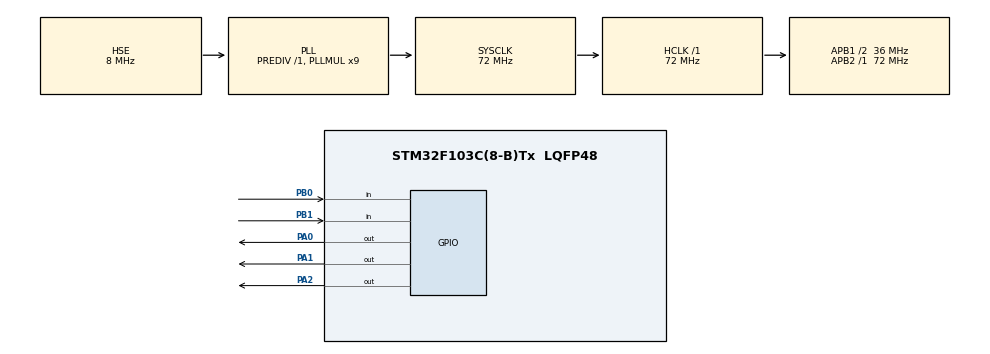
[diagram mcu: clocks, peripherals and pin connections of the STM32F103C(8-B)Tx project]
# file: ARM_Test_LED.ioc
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Mcu.Family=STM32F1
Mcu.Name=STM32F103C(8-B)Tx
Mcu.Package=LQFP48
NVIC.PriorityGroup=NVIC_PRIORITYGROUP_4
PA0-WKUP.Signal=GPIO_Output
PA1.Signal=GPIO_Output
PA13.Mode=Serial_Wire
PA13.Signal=SYS_JTMS-SWDIO
PA14.Mode=Serial_Wire
PA14.Signal=SYS_JTCK-SWCLK
PA2.Signal=GPIO_Output
PB0.Signal=GPIO_Input
PB1.Signal=GPIO_Input
PD0-OSC_IN.Mode=HSE-External-Oscillator
PD0-OSC_IN.Signal=RCC_OSC_IN
PD1-OSC_OUT.Mode=HSE-External-Oscillator
PD1-OSC_OUT.Signal=RCC_OSC_OUT
ProjectManager.HeapSize=0x200
ProjectManager.StackSize=0x400
ProjectManager.TargetToolchain=TrueSTUDIO
RCC.AHBFreq_Value=72000000
RCC.APB1CLKDivider=RCC_HCLK_DIV2
RCC.APB1Freq_Value=36000000
RCC.APB1TimFreq_Value=72000000
RCC.APB2Freq_Value=72000000
RCC.APB2TimFreq_Value=72000000
RCC.HCLKFreq_Value=72000000
RCC.PLLMUL=RCC_PLL_MUL9
RCC.PLLSourceVirtual=RCC_PLLSOURCE_HSE
RCC.SYSCLKFreq_VALUE=72000000
RCC.SYSCLKSource=RCC_SYSCLKSOURCE_PLLCLK
RCC.USBFreq_Value=72000000
board=custom

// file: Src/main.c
/**
  ******************************************************************************
  * @file           : main.c
  * @brief          : Main program body
  ******************************************************************************
  ** This notice applies to any and all portions of this file
  * that are not between comment pairs USER CODE BEGIN and
  * USER CODE END. Other portions of this file, whether
  * inserted by the user or by software development tools
  * are owned by their respective copyright owners.
  *
  * COPYRIGHT(c) 2019 STMicroelectronics
  *
  * Redistribution and use in source and binary forms, with or without modification,
  * are permitted provided that the following conditions are met:
  *   1. Redistributions of source code must retain the above copyright notice,
  *      this list of conditions and the following disclaimer.
  *   2. Redistributions in binary form must reproduce the above copyright notice,
  *      this list of conditions and the following disclaimer in the documentation
  *      and/or other materials provided with the distribution.
  *   3. Neither the name of STMicroelectronics nor the names of its contributors
  *      may be used to endorse or promote products derived from this software
  *      without specific prior written permission.
  *
  * THIS SOFTWARE IS PROVIDED BY THE COPYRIGHT HOLDERS AND CONTRIBUTORS "AS IS"
  * AND ANY EXPRESS OR IMPLIED WARRANTIES, INCLUDING, BUT NOT LIMITED TO, THE
  * IMPLIED WARRANTIES OF MERCHANTABILITY AND FITNESS FOR A PARTICULAR PURPOSE ARE
  * DISCLAIMED. IN NO EVENT SHALL THE COPYRIGHT HOLDER OR CONTRIBUTORS BE LIABLE
  * FOR ANY DIRECT, INDIRECT, INCIDENTAL, SPECIAL, EXEMPLARY, OR CONSEQUENTIAL
  * DAMAGES (INCLUDING, BUT NOT LIMITED TO, PROCUREMENT OF SUBSTITUTE GOODS OR
  * SERVICES; LOSS OF USE, DATA, OR PROFITS; OR BUSINESS INTERRUPTION) HOWEVER
  * CAUSED AND ON ANY THEORY OF LIABILITY, WHETHER IN CONTRACT, STRICT LIABILITY,
  * OR TORT (INCLUDING NEGLIGENCE OR OTHERWISE) ARISING IN ANY WAY OUT OF THE USE
  * OF THIS SOFTWARE, EVEN IF ADVISED OF THE POSSIBILITY OF SUCH DAMAGE.
  *
  ******************************************************************************
  */
#include "main.h"
#include "stm32f1xx_hal.h"

/* USER CODE BEGIN PV */
/* Private variables ---------------------------------------------------------*/

/* USER CODE END PV */

void SystemClock_Config(void);
static void MX_GPIO_Init(void);

/* USER CODE BEGIN PFP */
void shiftClock(void);
void LatchClock(void);
void ByteDataWrite_L(uint8_t data);
void ByteDataWrite_R(uint8_t data);
/* Private function prototypes -----------------------------------------------*/

/* USER CODE END PFP */

/* USER CODE BEGIN 0 */
volatile int SW_state = 0;

void shiftClock(void)
{
	HAL_GPIO_WritePin(DATAPORT, SHIFT_CLOCK, GPIO_PIN_SET);
	HAL_GPIO_WritePin(DATAPORT, SHIFT_CLOCK, GPIO_PIN_RESET);
}

void LatchClock(void)
{
	HAL_GPIO_WritePin(DATAPORT, LATCH_CLOCK, GPIO_PIN_SET);
	HAL_GPIO_WritePin(DATAPORT, LATCH_CLOCK, GPIO_PIN_RESET);
}

void ByteDataWrite_L(uint8_t data)
{
	for (uint8_t i=0; i<8; i++)
	{
			if (data & 0x80)	//�·� shift
			{
				HAL_GPIO_WritePin(DATAPORT, DATA, GPIO_PIN_RESET);
			} else {
				HAL_GPIO_WritePin(DATAPORT, DATA, GPIO_PIN_SET);
			}
			shiftClock();

			data = data << 1;

	}
	LatchClock();
}
void ByteDataWrite_R(uint8_t data)
{
	for (uint8_t i=0; i<8; i++)
	{
			if (data & 0x01)	//�·� shift
			{
				HAL_GPIO_WritePin(DATAPORT, DATA, GPIO_PIN_RESET);
			} else {
				HAL_GPIO_WritePin(DATAPORT, DATA, GPIO_PIN_SET);
			}
			shiftClock();

			data = data >> 1;

	}
	LatchClock();
}

/* USER CODE END 0 */

int main(void)
{

  /* MCU Configuration----------------------------------------------------------*/

  /* Reset of all peripherals, Initializes the Flash interface and the Systick. */
  HAL_Init();

  /* Configure the system clock */
  SystemClock_Config();

  /* Initialize all configured peripherals */
  MX_GPIO_Init();

  /* Infinite loop */
  /* USER CODE BEGIN WHILE */
  int index = 0;
  while (1)
  {
	  if(HAL_GPIO_ReadPin(SWPORT,SW1) == 0)
	  {
		 SW_state = 0;
	  }
	  if(HAL_GPIO_ReadPin(SWPORT,SW2) == 0)
	  {
	  	 SW_state = 1;
	  }
	  int pattern = 1 << index;
	  index = (index + 1) % 8;

	  if(SW_state == 0)
	  ByteDataWrite_L(pattern);
	  if(SW_state == 1)
	  ByteDataWrite_R(pattern);
	  HAL_Delay(300);
  /* USER CODE END WHILE */

  }

}

void SystemClock_Config(void)
{

  RCC_OscInitTypeDef RCC_OscInitStruct;
  RCC_ClkInitTypeDef RCC_ClkInitStruct;

    /**Initializes the CPU, AHB and APB busses clocks
    */
  RCC_OscInitStruct.OscillatorType = RCC_OSCILLATORTYPE_HSE;
  RCC_OscInitStruct.HSEState = RCC_HSE_ON;
  RCC_OscInitStruct.HSEPredivValue = RCC_HSE_PREDIV_DIV1;
  RCC_OscInitStruct.HSIState = RCC_HSI_ON;
  RCC_OscInitStruct.PLL.PLLState = RCC_PLL_ON;
  RCC_OscInitStruct.PLL.PLLSource = RCC_PLLSOURCE_HSE;
  RCC_OscInitStruct.PLL.PLLMUL = RCC_PLL_MUL9;
  if (HAL_RCC_OscConfig(&RCC_OscInitStruct) != HAL_OK)
  {
    _Error_Handler(__FILE__, __LINE__);
  }

    /**Initializes the CPU, AHB and APB busses clocks
    */
  RCC_ClkInitStruct.ClockType = RCC_CLOCKTYPE_HCLK|RCC_CLOCKTYPE_SYSCLK
                              |RCC_CLOCKTYPE_PCLK1|RCC_CLOCKTYPE_PCLK2;
  RCC_ClkInitStruct.SYSCLKSource = RCC_SYSCLKSOURCE_PLLCLK;
  RCC_ClkInitStruct.AHBCLKDivider = RCC_SYSCLK_DIV1;
  RCC_ClkInitStruct.APB1CLKDivider = RCC_HCLK_DIV2;
  RCC_ClkInitStruct.APB2CLKDivider = RCC_HCLK_DIV1;

  if (HAL_RCC_ClockConfig(&RCC_ClkInitStruct, FLASH_LATENCY_2) != HAL_OK)
  {
    _Error_Handler(__FILE__, __LINE__);
  }

    /**Configure the Systick interrupt time
    */
  HAL_SYSTICK_Config(HAL_RCC_GetHCLKFreq()/1000);

    /**Configure the Systick
    */
  HAL_SYSTICK_CLKSourceConfig(SYSTICK_CLKSOURCE_HCLK);

  /* SysTick_IRQn interrupt configuration */
  HAL_NVIC_SetPriority(SysTick_IRQn, 0, 0);
}

/** Configure pins as
        * Analog
        * Input
        * Output
        * EVENT_OUT
        * EXTI
*/
static void MX_GPIO_Init(void)
{

  GPIO_InitTypeDef GPIO_InitStruct;

  /* GPIO Ports Clock Enable */
  __HAL_RCC_GPIOD_CLK_ENABLE();
  __HAL_RCC_GPIOA_CLK_ENABLE();
  __HAL_RCC_GPIOB_CLK_ENABLE();

  /*Configure GPIO pin Output Level */
  HAL_GPIO_WritePin(GPIOA, GPIO_PIN_0|GPIO_PIN_1|GPIO_PIN_2, GPIO_PIN_RESET);

  /*Configure GPIO pins : PA0 PA1 PA2 */
  GPIO_InitStruct.Pin = GPIO_PIN_0|GPIO_PIN_1|GPIO_PIN_2;
  GPIO_InitStruct.Mode = GPIO_MODE_OUTPUT_PP;
  GPIO_InitStruct.Pull = GPIO_NOPULL;
  GPIO_InitStruct.Speed = GPIO_SPEED_FREQ_LOW;
  HAL_GPIO_Init(GPIOA, &GPIO_InitStruct);

  /*Configure GPIO pins : PB0 PB1 */
  GPIO_InitStruct.Pin = GPIO_PIN_0|GPIO_PIN_1;
  GPIO_InitStruct.Mode = GPIO_MODE_INPUT;
  GPIO_InitStruct.Pull = GPIO_NOPULL;
  HAL_GPIO_Init(GPIOB, &GPIO_InitStruct);

}

void _Error_Handler(char *file, int line)
{
  while(1)
  {
  }
}

/************************ (C) COPYRIGHT STMicroelectronics *****END OF FILE****/
